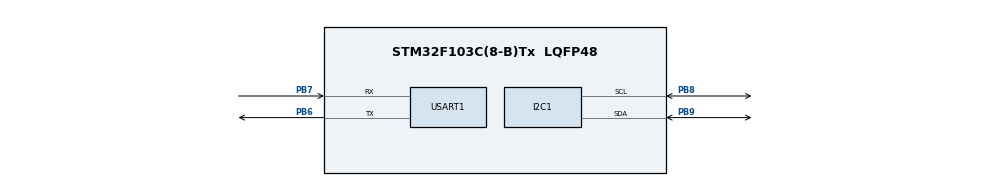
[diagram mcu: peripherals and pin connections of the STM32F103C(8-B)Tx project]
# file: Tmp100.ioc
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Mcu.Family=STM32F1
Mcu.Name=STM32F103C(8-B)Tx
Mcu.Package=LQFP48
NVIC.PriorityGroup=NVIC_PRIORITYGROUP_4
PA13.Mode=Serial_Wire
PA13.Signal=SYS_JTMS-SWDIO
PA14.Mode=Serial_Wire
PA14.Signal=SYS_JTCK-SWCLK
PB6.Mode=Asynchronous
PB6.Signal=USART1_TX
PB7.Mode=Asynchronous
PB7.Signal=USART1_RX
PB8.Mode=I2C
PB8.Signal=I2C1_SCL
PB9.Mode=I2C
PB9.Signal=I2C1_SDA
PD0-OSC_IN.Mode=HSE-External-Oscillator
PD0-OSC_IN.Signal=RCC_OSC_IN
PD1-OSC_OUT.Mode=HSE-External-Oscillator
PD1-OSC_OUT.Signal=RCC_OSC_OUT
ProjectManager.HeapSize=0x200
ProjectManager.StackSize=0x400
ProjectManager.TargetToolchain=Makefile
RCC.APB1Freq_Value=8000000
RCC.APB2Freq_Value=8000000
RCC.SYSCLKSource=RCC_SYSCLKSOURCE_HSE
USART1.VirtualMode=VM_ASYNC
board=custom

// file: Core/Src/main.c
/* USER CODE BEGIN Header */
/**
  ******************************************************************************
  * @file           : main.c
  * @brief          : Main program body
  ******************************************************************************
  * @attention
  *
  * Copyright (c) 2024 STMicroelectronics.
  * All rights reserved.
  *
  * This software is licensed under terms that can be found in the LICENSE file
  * in the root directory of this software component.
  * If no LICENSE file comes with this software, it is provided AS-IS.
  *
  ******************************************************************************
  */
/* USER CODE END Header */
#include "main.h"
#include "i2c.h"
#include "usart.h"
#include "gpio.h"

/* USER CODE BEGIN Includes */
// #define TMP100_ADD1_0_ADD0_0  (0x48) // ADD1 0, ADD0 0
// #define TMP100_ADD1_0_ADD0_F  (0x49) // ADD1 0, ADD0 Float
// #define TMP100_ADD1_0_ADD0_1  (0x4A) // ADD1 0, ADD0 1
// #define TMP100_ADD1_1_ADD0_0  (0x4C) // ADD1 1, ADD0 0
// #define TMP100_ADD1_1_ADD0_F  (0x4D) // ADD1 1, ADD0 Float
// #define TMP100_ADD1_1_ADD0_1  (0x4E) // ADD1 1, ADD0 1
// #define TMP100_ADD1_F_ADD0_0  (0x4B) // ADD1 1, ADD0 0
// #define TMP100_ADD1_F_ADD0_1  (0x4F) // ADD1 1, ADD0 1
#define TMP100_ADDRESS  0x48 // TMP100 I2C address with ADD1 and ADD0 low
#define TMP100_TEMP_REG 0x00 // Temperature register address
/* USER CODE END Includes */

/* USER CODE BEGIN PTD */
int _write(int file, char *data, int len) {
    HAL_UART_Transmit(&huart1, (uint8_t*)data, len, HAL_MAX_DELAY);
    return len;
}
/* USER CODE END PTD */

void SystemClock_Config(void);

int main(void)
{

  /* USER CODE BEGIN 1 */
  HAL_StatusTypeDef ret;
  uint8_t temp_buf[2]; // Buffer for temperature data from TMP100
  char uart_buf[20];   // Buffer for UART output
  int16_t temp_val;
  float temp_celsius;
  /* USER CODE END 1 */

  /* MCU Configuration--------------------------------------------------------*/

  /* Reset of all peripherals, Initializes the Flash interface and the Systick. */
  HAL_Init();

  /* Configure the system clock */
  SystemClock_Config();

  /* Initialize all configured peripherals */
  MX_GPIO_Init();
  MX_USART1_UART_Init();
  MX_I2C1_Init();

  /* Infinite loop */
  /* USER CODE BEGIN WHILE */
  while (1)
  {
    /* Request temperature data from TMP100 */
    ret = HAL_I2C_Mem_Read(&hi2c1, (TMP100_ADDRESS << 1)|0x01, TMP100_TEMP_REG, I2C_MEMADD_SIZE_8BIT, &temp_buf, 2, HAL_MAX_DELAY);

    if (ret != HAL_OK) {
        strcpy(uart_buf, "Error Rx\r\n");
        HAL_UART_Transmit(&huart1, (uint8_t*)uart_buf, strlen(uart_buf), HAL_MAX_DELAY);
    } else {
        /* Convert raw data to Celsius */
        temp_val = ((int16_t)temp_buf[0] << 4) | (temp_buf[1] >> 4);

        if (temp_val > 0x7FF) {
            temp_val |= 0xF000; // Sign extension for negative values
        }

        temp_celsius = temp_val * 0.0625;

        /* Print temperature over UART */
        snprintf(uart_buf, sizeof(uart_buf), "%d C\r\n", ((int)temp_celsius));
        HAL_UART_Transmit(&huart1, (uint8_t*)uart_buf, strlen(uart_buf), HAL_MAX_DELAY);
    }

    HAL_Delay(1000); // 1-second delay between readings
  }
    /* USER CODE END WHILE */

}

void SystemClock_Config(void)
{
  RCC_OscInitTypeDef RCC_OscInitStruct = {0};
  RCC_ClkInitTypeDef RCC_ClkInitStruct = {0};

  /** Initializes the RCC Oscillators according to the specified parameters
  * in the RCC_OscInitTypeDef structure.
  */
  RCC_OscInitStruct.OscillatorType = RCC_OSCILLATORTYPE_HSE;
  RCC_OscInitStruct.HSEState = RCC_HSE_ON;
  RCC_OscInitStruct.PLL.PLLState = RCC_PLL_NONE;
  if (HAL_RCC_OscConfig(&RCC_OscInitStruct) != HAL_OK)
  {
    Error_Handler();
  }

  /** Initializes the CPU, AHB and APB buses clocks
  */
  RCC_ClkInitStruct.ClockType = RCC_CLOCKTYPE_HCLK|RCC_CLOCKTYPE_SYSCLK
                              |RCC_CLOCKTYPE_PCLK1|RCC_CLOCKTYPE_PCLK2;
  RCC_ClkInitStruct.SYSCLKSource = RCC_SYSCLKSOURCE_HSE;
  RCC_ClkInitStruct.AHBCLKDivider = RCC_SYSCLK_DIV1;
  RCC_ClkInitStruct.APB1CLKDivider = RCC_HCLK_DIV1;
  RCC_ClkInitStruct.APB2CLKDivider = RCC_HCLK_DIV1;

  if (HAL_RCC_ClockConfig(&RCC_ClkInitStruct, FLASH_LATENCY_0) != HAL_OK)
  {
    Error_Handler();
  }
}

void Error_Handler(void)
{
  __disable_irq();
  while (1)
  {
  }
}
